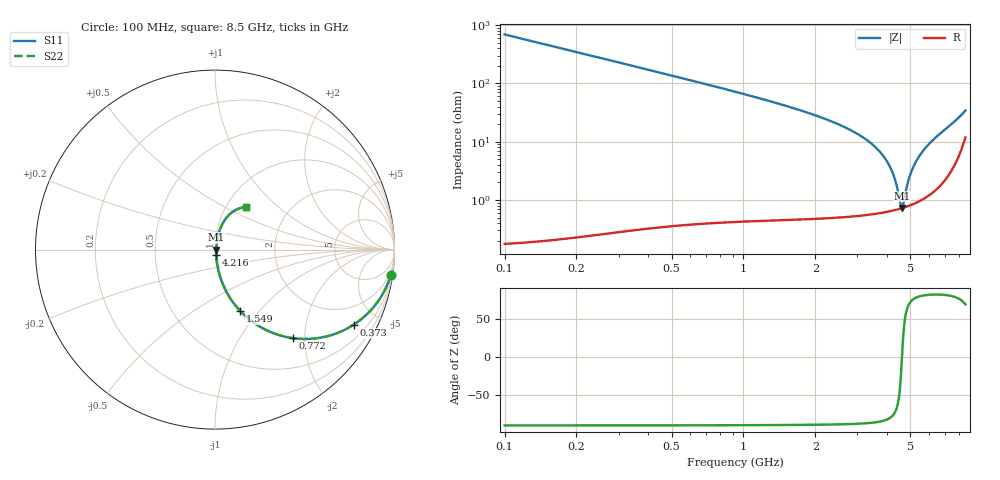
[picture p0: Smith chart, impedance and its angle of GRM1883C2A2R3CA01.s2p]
!Murata Part Number: GRM1883C2A2R3CA01
!These Parameters are Measured in Series Mode Connection
!Data Generated on Mar 30, 2021
!  o--ll--o
!Port1  Port2
!  o------o
!Operation Temp=25[degC], DC Bias Voltage=0[V]
!Freq. Start=100[MHz] Stop=9[GHz] 401[Steps]
# Hz S RI R 50
!Freq.(Hz) S11(Real) S11(Imag) S21(Real) S21(Imag) S12(Real) S12(Imag) S22(Real) S22(Imag)
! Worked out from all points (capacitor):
!   401 points, 100 MHz to 8.5 GHz, reference 50 ohm
!   read as one part in series: C = 2.3 pF near 142 MHz
!   lowest |Z| = 726 mohm at 4.615 GHz (marker M1)
!   series resonance near 4.612 GHz, so ESL is about 520 pH
!   S11 on the Smith chart (normalised r, x): 100 MHz: 1, -14; 373 MHz: 1.01, -3.68; 772 MHz: 1.01, -1.74; 1.549 GHz: 1.01, -0.80; 4.216 GHz: 1.01, -0.06; 8.5 GHz: 1.24, +0.64
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1e8  0.9795 -0.1416  0.0205 0.1416  0.0205 0.1416  0.9795 -0.1416
2.26e8  0.903 -0.2956  0.097 0.2956  0.097 0.2956  0.903 -0.2956
3.73e8  0.772 -0.4187  0.228 0.4187  0.228 0.4187  0.772 -0.4187
5.62e8  0.595 -0.4894  0.405 0.4894  0.405 0.4894  0.595 -0.4894
7.72e8  0.432 -0.493  0.568 0.493  0.568 0.493  0.432 -0.493
1.108e9  0.2595 -0.4347  0.7405 0.4347  0.7405 0.4347  0.2595 -0.4347
1.507e9  0.1478 -0.3495  0.8522 0.3495  0.8522 0.3495  0.1478 -0.3495
1.549e9  0.1397 -0.341  0.8603 0.341  0.8603 0.341  0.1397 -0.341
2.914e9  0.0257 -0.1413  0.9743 0.1413  0.9743 0.1413  0.0257 -0.1413
3.712e9  0.0104 -0.0671  0.9896 0.0671  0.9896 0.0671  0.0104 -0.0671
4.006e9  0.00817 -0.0438  0.9918 0.0438  0.9918 0.0438  0.00817 -0.0438
4.216e9  0.00732 -0.028  0.9927 0.028  0.9927 0.028  0.00732 -0.028
4.3e9  0.00714 -0.0219  0.9929 0.0219  0.9929 0.0219  0.00714 -0.0219
4.552e9  0.0071 -0.0041  0.9929 0.0041  0.9929 0.0041  0.0071 -0.0041
4.615e9  0.0072 0.000231  0.9928 -0.000231  0.9928 -0.000231  0.0072 0.000231
4.678e9  0.00734 0.00453  0.9927 -0.00453  0.9927 -0.00453  0.00734 0.00453
4.867e9  0.00803 0.0172  0.992 -0.0172  0.992 -0.0172  0.00803 0.0172
5.056e9  0.00908 0.0296  0.9909 -0.0296  0.9909 -0.0296  0.00908 0.0296
5.329e9  0.0112 0.047  0.9888 -0.047  0.9888 -0.047  0.0112 0.047
5.707e9  0.0155 0.0706  0.9845 -0.0706  0.9845 -0.0706  0.0155 0.0706
7.114e9  0.05 0.1585  0.95 -0.1585  0.95 -0.1585  0.05 0.1585
8.5e9  0.1739 0.2375  0.8261 -0.2375  0.8261 -0.2375  0.1739 0.2375
